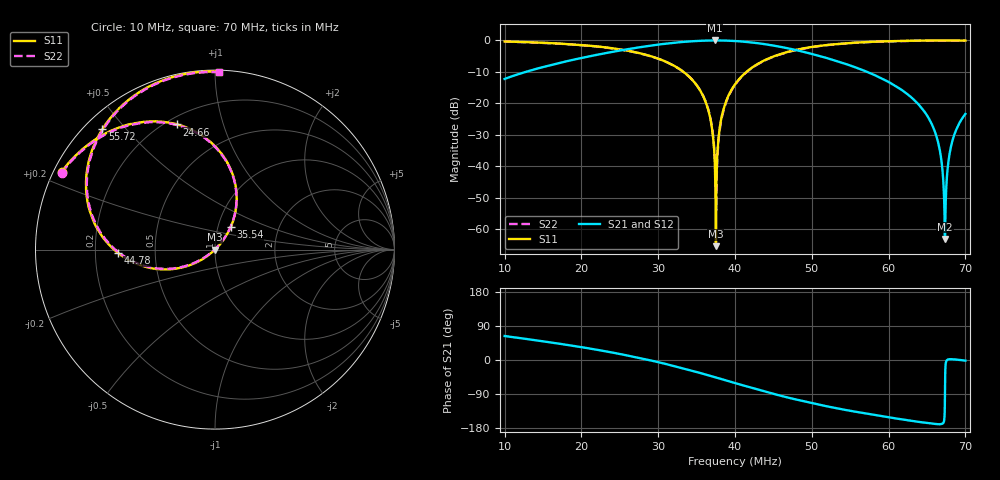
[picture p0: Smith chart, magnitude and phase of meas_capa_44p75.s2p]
#  HZ  S  RI  R  50.00
! Rohde & Schwarz ZVT8 8Ports - Version 4.11 - 1300.0000k08 SN: 100242
! Date: 2026-07-13 14:01:44
! Measurements: S11 S21 S12 S22
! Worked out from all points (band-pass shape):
!   3001 points, 10 MHz to 70 MHz, reference 50 ohm
!   highest |S21| = -0.05 dB at 37.36 MHz (marker M1); lowest = -63.0 dB at 67.34 MHz (marker M2)
!   |S21| within 3 dB of the highest: 25.49 MHz to 47.84 MHz (22.35 MHz wide, 61 % of centre)
!   lowest |S11| = -65.4 dB at 37.52 MHz (marker M3), VSWR 1.00, Z = 50 - j0.0295 ohm
!   |S11| at or under -10 dB: 33.27 MHz to 41.51 MHz (8.237 MHz wide, 22 % of centre)
!   |S22| runs from -54.0 to -0.1 dB; largest |S21 - S12| = 0.0019
!   S11 on the Smith chart (normalised r, x): 10 MHz: 0.02, +0.24; 24.66 MHz: 0.24, +0.71; 35.54 MHz: 1.15, +0.30; 44.78 MHz: 0.30, -0.02; 55.72 MHz: 0.05, +0.43; 70 MHz: 0.01, +1.02
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1e7  -0.8551 0.4308  0.1094 0.2175  0.1097 0.2172  -0.8525 0.4279
2e7  -0.4656 0.7004  0.4354 0.2912  0.435 0.2906  -0.4646 0.6967
2.466e7  -0.211 0.6974  0.6456 0.2001  0.6449 0.1996  -0.2113 0.6933
3e7  0.0547 0.5082  0.8488 -0.0851  0.8485 -0.0854  0.053 0.5062
3.554e7  0.0874 0.1262  0.8069 -0.5594  0.8066 -0.5592  0.0872 0.1276
3.678e7  0.038 0.0433  0.7392 -0.6622  0.7392 -0.6612  0.0379 0.0457
3.708e7  0.0239 0.025  0.7197 -0.6847  0.7191 -0.6846  0.0234 0.027
3.736e7  0.00817 0.00904  0.7003 -0.7059  0.6998 -0.7047  0.00923 0.0121
3.752e7  -0.000452 -0.000296  0.6884 -0.7168  0.6883 -0.7165  -0.000395 0.00201
3.772e7  -0.0125 -0.0116  0.6737 -0.7308  0.6735 -0.73  -0.0122 -0.00811
3.796e7  -0.0275 -0.0233  0.6552 -0.7468  0.6549 -0.7459  -0.0271 -0.0197
3.836e7  -0.0532 -0.0426  0.6229 -0.7716  0.6222 -0.7711  -0.0525 -0.04
4e7  -0.1743 -0.097  0.4749 -0.8497  0.4748 -0.8496  -0.1721 -0.094
4.478e7  -0.5399 -0.0199  0.0275 -0.8327  0.0272 -0.8326  -0.5349 -0.0169
5e7  -0.7168 0.3165  -0.245 -0.556  -0.2454 -0.5556  -0.7118 0.316
5.572e7  -0.6275 0.6708  -0.2692 -0.2542  -0.2689 -0.2542  -0.6234 0.6691
6e7  -0.4595 0.8511  -0.191 -0.1051  -0.1909 -0.1048  -0.4552 0.8491
6.55e7  -0.197 0.972  -0.049 -0.0108  -0.0489 -0.0108  -0.1929 0.9688
6.66e7  -0.1432 0.9825  -0.0195 -0.00361  -0.0195 -0.00362  -0.1389 0.9795
6.734e7  -0.1068 0.988  7.75e-05 -0.000701  8.04e-05 -0.000701  -0.103 0.9844
6.826e7  -0.0624 0.9912  0.0241 0.000849  0.024 0.000864  -0.0585 0.988
7e7  0.02 0.9908  0.0678 -0.00201  0.0678 -0.002  0.0243 0.9884
